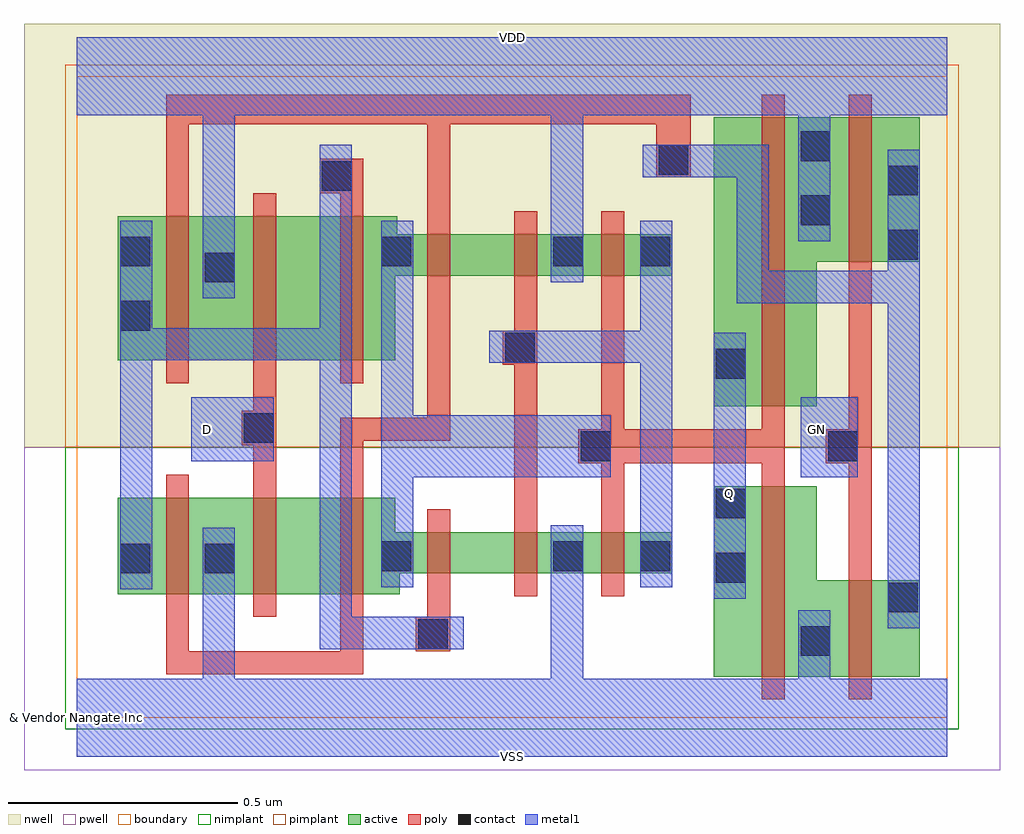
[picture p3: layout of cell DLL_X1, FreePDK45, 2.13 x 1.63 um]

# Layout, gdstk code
import gdstk
lib = gdstk.Library(unit=1e-6, precision=1e-10)
def R(c, l, rs):  # rectangles x0, y0, x1, y1
    for r in rs: c.add(gdstk.rectangle(r[:2], r[2:], *l))
def P(c, l, *ps):  # polygons
    for p in ps: c.add(gdstk.Polygon(p, *l))
active = (1, 0)
pwell = (2, 0)
nwell = (3, 0)
nimplant = (4, 0)
pimplant = (5, 0)
poly = (9, 0)
contact = (10, 0)
metal1 = (11, 0)
boundary = (235, 0)

dll_x1 = lib.new_cell('DLL_X1')
P(dll_x1, active, [(0.09,0.27),(0.09,0.48),(0.695,0.48),(0.695,0.405),(1.3,0.405),(1.3,0.315),(0.705,0.315),(0.705,0.27)],
  [(0.09,0.78),(0.09,1.095),(0.7,1.095),(0.7,1.055),(1.3,1.055),(1.3,0.965),(0.695,0.965),(0.695,0.78)],
  [(1.39,0.09),(1.39,0.505),(1.615,0.505),(1.615,0.3),(1.84,0.3),(1.84,0.09)],
  [(1.39,0.68),(1.39,1.31),(1.84,1.31),(1.84,0.995),(1.615,0.995),(1.615,0.68)])
R(dll_x1, pwell, [(-0.115,-0.115,2.015,0.59)])
R(dll_x1, nwell, [(-0.115,0.59,2.015,1.515)])
R(dll_x1, nimplant, [(-0.025,-0.025,1.925,0.59)])
R(dll_x1, pimplant, [(-0.025,0.59,1.925,1.425)])
P(dll_x1, poly, [(0.385,0.22),(0.385,0.595),(0.36,0.595),(0.36,0.67),(0.385,0.67),(0.385,1.145),(0.435,1.145),(0.435,0.22)],
  [(0.575,0.73),(0.575,1.145),(0.53,1.145),(0.53,1.22),(0.625,1.22),(0.625,0.73)],
  [(0.74,0.145),(0.74,0.22),(0.765,0.22),(0.765,0.455),(0.815,0.455),(0.815,0.145)],
  [(0.955,0.265),(0.955,0.77),(0.93,0.77),(0.93,0.845),(0.955,0.845),(0.955,1.105),(1.005,1.105),(1.005,0.265)],
  [(0.195,0.095),(0.195,0.53),(0.245,0.53),(0.245,0.145),(0.575,0.145),(0.575,0.655),(0.765,0.655),(0.765,1.295),(0.245,1.295),(0.245,0.73),(0.195,0.73),(0.195,1.36),(1.34,1.36),(1.34,1.18),(1.265,1.18),(1.265,1.295),(0.815,1.295),(0.815,0.605),(0.625,0.605),(0.625,0.095)],
  [(1.495,0.04),(1.495,0.555),(1.195,0.555),(1.195,0.265),(1.145,0.265),(1.145,0.555),(1.095,0.555),(1.095,0.63),(1.145,0.63),(1.145,1.105),(1.195,1.105),(1.195,0.63),(1.495,0.63),(1.495,1.36),(1.545,1.36),(1.545,0.04)],
  [(1.685,0.04),(1.685,0.555),(1.635,0.555),(1.635,0.63),(1.685,0.63),(1.685,1.36),(1.735,1.36),(1.735,0.04)])
R(dll_x1, contact, [(1.58,0.135,1.645,0.2), (0.745,0.15,0.81,0.215), (1.77,0.23,1.835,0.295), (1.395,0.295,1.46,0.36), (0.095,0.315,0.16,0.38), (0.28,0.315,0.345,0.38), (0.665,0.32,0.73,0.385), (1.04,0.32,1.105,0.385), (1.23,0.32,1.295,0.385), (1.395,0.435,1.46,0.5), (1.1,0.56,1.165,0.625), (1.64,0.56,1.705,0.625), (0.365,0.6,0.43,0.665), (1.395,0.74,1.46,0.805), (0.935,0.775,1,0.84), (0.095,0.845,0.16,0.91), (0.28,0.95,0.345,1.015), (0.095,0.985,0.16,1.05), (0.665,0.985,0.73,1.05), (1.04,0.985,1.105,1.05), (1.23,0.985,1.295,1.05), (1.77,1,1.835,1.065), (1.58,1.075,1.645,1.14), (1.77,1.14,1.835,1.205), (0.535,1.15,0.6,1.215), (1.27,1.185,1.335,1.25), (1.58,1.215,1.645,1.28)])
R(dll_x1, metal1, [(1.39,0.26,1.46,0.84), (1.58,0.525,1.705,0.7), (0.25,0.56,0.43,0.7)])
P(dll_x1, metal1, [(0.53,0.15),(0.53,0.78),(0.165,0.78),(0.165,0.28),(0.095,0.28),(0.095,1.085),(0.165,1.085),(0.165,0.85),(0.53,0.85),(0.53,1.25),(0.6,1.25),(0.6,0.22),(0.845,0.22),(0.845,0.15)],
  [(0.665,0.285),(0.665,1.085),(0.735,1.085),(0.735,0.66),(1.165,0.66),(1.165,0.525),(0.735,0.525),(0.735,0.285)],
  [(1.23,0.285),(1.23,0.775),(0.9,0.775),(0.9,0.845),(1.23,0.845),(1.23,1.085),(1.3,1.085),(1.3,0.285)],
  [(1.77,0.195),(1.77,0.905),(1.44,0.905),(1.44,1.18),(1.235,1.18),(1.235,1.25),(1.51,1.25),(1.51,0.975),(1.77,0.975),(1.77,1.24),(1.84,1.24),(1.84,0.195)],
  [(0,-0.085),(0,0.085),(0.275,0.085),(0.275,0.415),(0.345,0.415),(0.345,0.085),(1.035,0.085),(1.035,0.42),(1.105,0.42),(1.105,0.085),(1.575,0.085),(1.575,0.235),(1.645,0.235),(1.645,0.085),(1.9,0.085),(1.9,-0.085)],
  [(0.275,0.915),(0.275,1.315),(0,1.315),(0,1.485),(1.9,1.485),(1.9,1.315),(1.645,1.315),(1.645,1.04),(1.575,1.04),(1.575,1.315),(1.105,1.315),(1.105,0.95),(1.035,0.95),(1.035,1.315),(0.345,1.315),(0.345,0.915)])
R(dll_x1, boundary, [(0,0,1.9,1.4)])
dll_x1.add(gdstk.Label('D', (0.285,0.63), layer=11, texttype=0))
dll_x1.add(gdstk.Label('GN', (1.615,0.63), layer=11, texttype=0))
dll_x1.add(gdstk.Label('Q', (1.425,0.49), layer=11, texttype=0))
dll_x1.add(gdstk.Label('VDD', (0.95,1.485), layer=11, texttype=0))
dll_x1.add(gdstk.Label('VSS', (0.95,-0.085), layer=11, texttype=0))
dll_x1.add(gdstk.Label('& Vendor Nangate Inc', (0,0), layer=63, texttype=63))
dll_x1.add(gdstk.Label('& Product Open Cell Library', (0,0), layer=63, texttype=63))
dll_x1.add(gdstk.Label('& Version 2010_12', (0,0), layer=63, texttype=63))
dll_x1.add(gdstk.Label('& Instance DLL_X1', (0,0), layer=63, texttype=63))

lib.write_gds('DLL_X1.gds')
